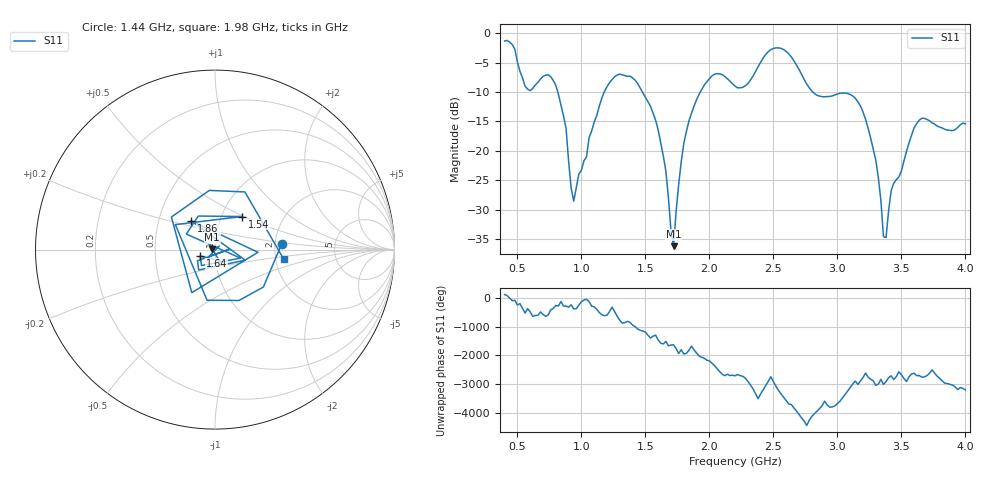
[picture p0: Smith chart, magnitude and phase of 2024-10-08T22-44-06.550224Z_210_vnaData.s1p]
! Created with skrf (http://scikit-rf.org).
# Hz S RI R 50.0
!freq ReS11 ImS11
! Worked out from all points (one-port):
!   181 points, 400 MHz to 4 GHz, reference 50 ohm
!   lowest |S11| = -36.2 dB at 1.72 GHz (marker M1), VSWR 1.03, Z = 48.5 + j0.152 ohm
!   |S11| at or under -10 dB: 815.3 MHz to 1.179 GHz (363.2 MHz wide, 36.4 % of centre); 1.478 GHz to 1.929 GHz (451.6 MHz wide, 26.5 % of centre); 2.808 GHz to end of sweep
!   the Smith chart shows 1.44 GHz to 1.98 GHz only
!   S11 on the Smith chart (normalised r, x): 1.44 GHz: 2.17, +0.15; 1.54 GHz: 1.25, +0.49; 1.64 GHz: 0.84, -0.06; 1.86 GHz: 0.73, +0.24; 1.98 GHz: 2.21, -0.27
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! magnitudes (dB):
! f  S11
! 400 MHz  -1.3
! 480 MHz  -2.7
! 580 MHz  -9.5
! 760 MHz  -7.4
! 860 MHz  -14.1
! 940 MHz  -28.6
! 1.16 GHz  -11.0
! 1.3 GHz  -7.0
! 1.44 GHz  -8.6
! 1.54 GHz  -12.5
! 1.64 GHz  -20.9
! 1.72 GHz  -36.2
! 1.76 GHz  -25.7
! 1.86 GHz  -13.6
! 1.98 GHz  -8.3
! 2.2 GHz  -9.0
! 2.5 GHz  -2.6
! 2.66 GHz  -4.7
! 2.84 GHz  -10.6
! 3.1 GHz  -10.4
! 3.26 GHz  -17.8
! 3.32 GHz  -24.6
! 3.36 GHz  -34.6
! 3.38 GHz  -34.7
! 3.42 GHz  -26.8
! 3.56 GHz  -18.6
! 3.66 GHz  -14.5
! 4 GHz  -15.4
